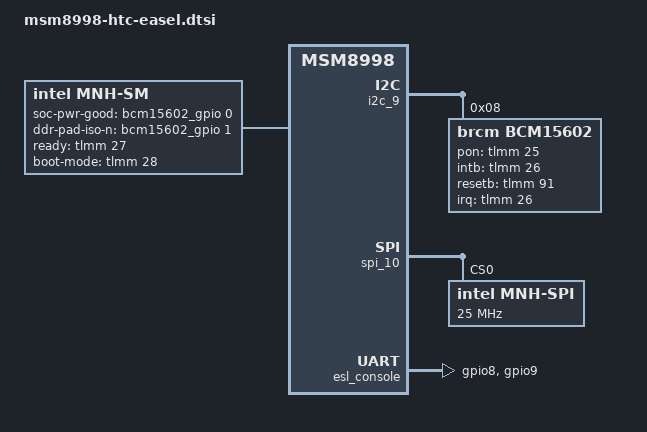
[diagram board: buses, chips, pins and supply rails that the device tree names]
/* Copyright (c) 2016, The Linux Foundation. All rights reserved.
 *
 * This program is free software; you can redistribute it and/or modify
 * it under the terms of the GNU General Public License version 2 and
 * only version 2 as published by the Free Software Foundation.
 *
 * This program is distributed in the hope that it will be useful,
 * but WITHOUT ANY WARRANTY; without even the implied warranty of
 * MERCHANTABILITY or FITNESS FOR A PARTICULAR PURPOSE.  See the
 * GNU General Public License for more details.
 */

#include <dt-bindings/interrupt-controller/irq.h>

&aliases {
	serial1 = "/soc/serial@0c16f000";
};

&pcie0 {
	/* move and resize conf, io, and bars (mem) allocations */
	reg = <0x1c00000 0x2000>,
	      <0x1c06000 0x1000>,
	      <0x1b000000 0xf1d>,
	      <0x1b000f20 0xa8>,
	      <0x1b010000 0x20000>,  /* 128KB conf space */
	      <0x1b030000 0x20000>,  /* 128KB io space */
	      <0x1b100000 0xf00000>; /* 15M bars space */
	ranges = <0x01000000 0x0 0x1b030000 0x1b030000 0x0 0x20000>, /* io */
		 <0x02000000 0x0 0x1b100000 0x1b100000 0x0 0xf00000>; /* bars */

	qcom,phy-sequence = <0x804 0x01 0x00
				0x034 0x14 0x00
				0x138 0x30 0x00
				0x048 0x0f 0x00
				0x15c 0x06 0x00
				0x090 0x01 0x00
				0x088 0x20 0x00
				0x0f0 0x00 0x00
				0x0f8 0x01 0x00
				0x0f4 0xc9 0x00
				0x11c 0xff 0x00
				0x120 0x3f 0x00
				0x164 0x01 0x00
				0x154 0x00 0x00
				0x148 0x0a 0x00
				0x05C 0x19 0x00
				0x038 0x90 0x00
				0x0b0 0x82 0x00
				0x0c0 0x03 0x00
				0x0bc 0x55 0x00
				0x0b8 0x55 0x00
				0x0a0 0x00 0x00
				0x09c 0x0d 0x00
				0x098 0x04 0x00
				0x13c 0x00 0x00
				0x060 0x08 0x00
				0x068 0x16 0x00
				0x070 0x34 0x00
				0x15c 0x06 0x00
				0x138 0x33 0x00
				0x03c 0x02 0x00
				0x040 0x07 0x00
				0x080 0x04 0x00
				0x0dc 0x00 0x00
				0x0d8 0x3f 0x00
				0x00c 0x09 0x00
				0x010 0x01 0x00
				0x01c 0x40 0x00
				0x020 0x01 0x00
				0x014 0x02 0x00
				0x018 0x00 0x00
				0x024 0x7e 0x00
				0x028 0x15 0x00
				0x244 0x02 0x00
				0x2a4 0x12 0x00
				0x260 0x10 0x00
				0x28c 0x06 0x00
				0x504 0x03 0x00
				0x500 0x1c 0x00
				0x50c 0x14 0x00
				0x4d4 0x0a 0x00
				0x4d8 0x04 0x00
				0x4dc 0x1a 0x00
				0x434 0x4b 0x00
				0x414 0x04 0x00
				0x40c 0x04 0x00
				0x4f8 0x00 0x00
				0x4fc 0x80 0x00
				0x51c 0x40 0x00
				0x444 0x71 0x00
				0x43c 0x40 0x00
				0x854 0x04 0x00
				0x62c 0x52 0x00
				0x9ac 0x00 0x00
				0x8a0 0x01 0x00
				0x9e0 0x00 0x00
				0x9dc 0x01 0x00
				0x9a8 0x00 0x00
				0x8a4 0x01 0x00
				0x8a8 0x73 0x00
				0x9d8 0x99 0x00
				0x9b0 0x03 0x00
				0x804 0x03 0x00
				0x800 0x00 0x00
				0x808 0x03 0x00
				0x21C 0x2D 0x00>;

	/* QCOM's GICM implementation is not compatible with Easel */
	qcom,msi-gicm-addr = <>;
	qcom,msi-gicm-base = <>;

	/* reduce endpoint reset latency */
	qcom,ep-latency = <1>;

	/* WAKE# optional sideband signal not connected */
	wake-gpio = <>;
	/* Remove pcie0_wake_default from pin muxing */
	pinctrl-0 = <&pcie0_clkreq_default &pcie0_perst_default>;
};

&tlmm {
	bcm15602_pins {
		bcm15602_pon_default: bcm15602_pon_default {
			mux {
				pins = "gpio25";
				function = "gpio";
			};

			config {
				pins = "gpio25";
				drive-strength = <2>;
				bias-disable;
			};
		};

		bcm15602_intb_default: bcm15602_intb_default {
			mux {
				pins = "gpio26";
				function = "gpio";
			};

			config {
				pins = "gpio26";
				drive-strength = <2>;
				bias-pull-up;
			};
		};

		bcm15602_resetb_default: bcm15602_resetb_default {
			mux {
				pins = "gpio91";
				function = "gpio";
			};

			config {
				pins = "gpio91";
				drive-strength = <2>;
				bias-pull-down;
			};
		};
	};

	easel_pins {
		easel_ready_default: easel_ready_default {
			mux {
				pins = "gpio27";
				function = "gpio";
			};

			config {
				pins = "gpio27";
				drive-strength = <2>;
				bias-pull-down;
			};
		};

		easel_boot_mode_default: easel_boot_mode_default {
			mux {
				pins = "gpio28";
				function = "gpio";
			};

			config {
				pins = "gpio28";
				drive-strength = <2>;
				bias-disable;
			};
		};

		esl_console_active: esl_console_active {
			mux {
				pins = "gpio8", "gpio9";
				function = "blsp_uart1_b";
			};

			config {
				pins = "gpio8", "gpio9";
				drive-strength = <2>;
				bias-disable;
			};
		};

		esl_console_sleep: esl_console_sleep {
			mux {
				pins = "gpio8", "gpio9";
				function = "gpio";
			};

			config {
				pins = "gpio8", "gpio9";
				drive-strength = <2>;
				bias-pull-down;
			};
		};
	};
};

&i2c_9 {
	bcm15602@8 {
		compatible = "brcm,bcm15602";
		reg = <0x8>;

		interrupt-parent = <&tlmm>;
		interrupts = <26 IRQ_TYPE_EDGE_FALLING>;
		interrupt-names = "bcm15602_intb";

		pinctrl-names = "default";
		pinctrl-0 = <&bcm15602_pon_default &bcm15602_intb_default
			&bcm15602_resetb_default>;

		bcm,pon-gpio = <&tlmm 25 0x00>;
		bcm,intb-gpio = <&tlmm 26 0x00>;
		bcm,resetb-gpio = <&tlmm 91 0x00>;

		bcm15602_gpio: gpio {
			compatible = "brcm,bcm15602-gpio";
			gpio-controller;
			#gpio-cells = <2>;
		};

		bcm15602_thermal: sensor {
			compatible = "brcm,bcm15602-thermal";
			#thermal-sensor-cells = <0>;
		};
	};
};

&spi_10 {
	status = "okay";
	mnh-spi@0 {
		compatible = "intel,mnh-spi";
		reg = <0>;
		spi-max-frequency = <25000000>;
		spi-cpol;
		spi-cpha;
	};
};

&soc {
	esl_console: serial@0c16f000 {
		compatible = "qcom,msm-uartdm-v1.4", "qcom,msm-uartdm";
		reg = <0xc16f000 0x1000>;

		interrupts = <0 107 0>;

		clocks = <&clock_gcc clk_gcc_blsp1_uart1_apps_clk>,
			 <&clock_gcc clk_gcc_blsp1_ahb_clk>;
		clock-names = "core", "iface";

		pinctrl-names = "default", "sleep";
		pinctrl-0 = <&esl_console_active>;
		pinctrl-1 = <&esl_console_sleep>;
	};

	mnh-sm {
		compatible = "intel,mnh-sm";

		clocks = <&clock_gcc clk_ln_bb_clk2>,
			 <&clock_gcc clk_div_clk3>;
		clock-names = "ref_clk", "sleep_clk";

		pinctrl-names = "default";
		pinctrl-0 = <&easel_ready_default &easel_boot_mode_default>;

		soc-pwr-good-gpio = <&bcm15602_gpio 0 0x00>;
		ddr-pad-iso-n-gpio = <&bcm15602_gpio 1 0x00>;
		ready-gpio = <&tlmm 27 0x00>;
		boot-mode-gpio = <&tlmm 28 0x00>;
	};

	mnh_thermal: mnh_thermal {
		compatible = "intel,mnh_thermal";
		#thermal-sensor-cells = <1>;
	};

	thermal-zones {
		mnh_ipu1 {
			polling-delay-passive = <1000>;/* milliseconds */
			polling-delay = <0>;/* milliseconds */
			thermal-sensors = <&mnh_thermal 0>;
		};

		mnh_ipu2 {
			polling-delay-passive = <1000>;/* milliseconds */
			polling-delay = <0>;/* milliseconds */
			thermal-sensors = <&mnh_thermal 1>;
		};

		mnh_cpu {
			polling-delay-passive = <1000>;/* milliseconds */
			polling-delay = <0>;/* milliseconds */
			thermal-sensors = <&mnh_thermal 2>;
		};

		mnh_lpddr {
			polling-delay-passive = <1000>;/* milliseconds */
			polling-delay = <0>;/* milliseconds */
			thermal-sensors = <&mnh_thermal 3>;
		};
	};
};
